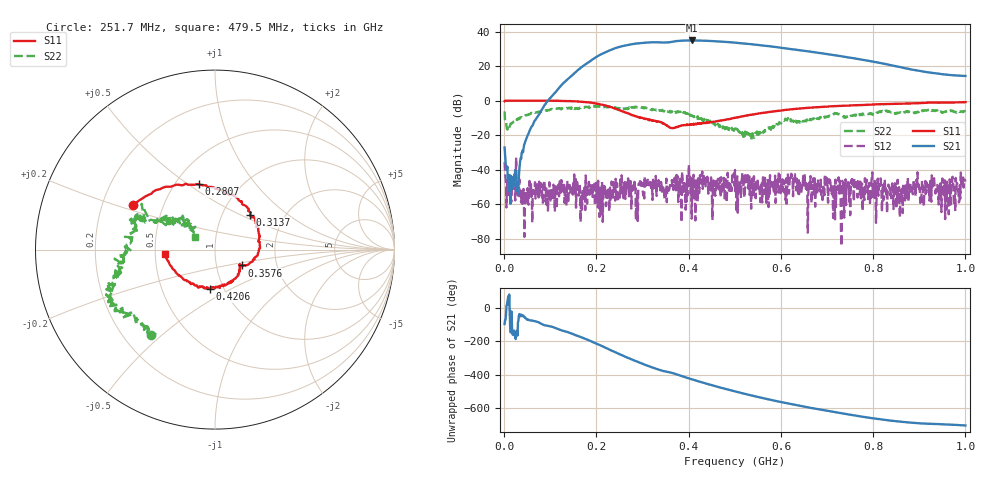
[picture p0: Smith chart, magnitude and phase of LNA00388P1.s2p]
! Created with skrf 1.9.0 (http://scikit-rf.org).
# Hz S RI R 50.0
!freq ReS11 ImS11 ReS21 ImS21 ReS12 ImS12 ReS22 ImS22
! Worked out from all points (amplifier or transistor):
!   1001 points, 1 MHz to 1 GHz, reference 50 ohm
!   highest |S21| = 34.9 dB at 406.6 MHz (marker M1)
!   |S21| within 3 dB of that: 260.7 MHz to 563 MHz (302.3 MHz wide, 73.4 % of centre)
!   unconditionally stable (mu >= 1): 199 MHz to 385.6 MHz; 385.9 MHz to 400.2 MHz; 401 MHz to end of sweep (the widest 3 of 39)
!   at 166.8 MHz: K = 2.74, MAG = 30.0 dB, |S12| = -55.3 dB
!   at 500.5 MHz: K = 1.16, MAG = 34.5 dB, |S12| = -40.2 dB
!   at 1 GHz: K = 2.57, MAG = 23.7 dB, |S12| = -46.8 dB
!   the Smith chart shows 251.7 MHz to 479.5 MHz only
!   S11 on the Smith chart (normalised r, x): 251.7 MHz: 0.33, +0.23; 280.7 MHz: 0.65, +0.55; 313.7 MHz: 1.35, +0.57; 357.6 MHz: 1.33, -0.24; 420.6 MHz: 0.86, -0.40; 479.5 MHz: 0.57, -0.03
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1000000  0.9722 -0.00135  -0.00397 -0.0442  -0.00718 0.0152  0.3649 0.3249
1.09891e8  0.5173 -0.8536  -0.7869 -1.484  2.03e-05 0.000609  0.4405 -0.3739
1.67833e8  -0.2234 -0.9039  -9.408 -0.8097  -0.000578 -0.00148  0.063 -0.6407
2.12788e8  -0.6896 -0.3399  -15.18 17.2  -0.00178 0.00315  -0.2072 -0.653
2.31769e8  -0.6505 -0.017  -8.631 28.52  -0.000858 -0.0016  -0.2767 -0.5848
2.51749e8  -0.4571 0.2494  5.34 36.35  -0.00434 -0.00282  -0.3548 -0.4785
2.8072e8  -0.0898 0.3634  30.12 32.49  -0.00302 0.00194  -0.5483 -0.3283
3.13687e8  0.1964 0.1951  47.86 9.139  -0.00258 -0.00245  -0.5775 -0.1938
3.34666e8  0.2512 0.00852  48.66 -7.841  0.000196 0.00502  -0.5125 -0.0753
3.57643e8  0.149 -0.0881  44.56 -21.01  -0.00219 0.00136  -0.4632 0.0609
3.77623e8  0.1359 -0.112  40.64 -35.68  0.00108 0.000428  -0.4311 0.171
4.06594e8  0.0445 -0.1954  21.29 -51.53  -0.000311 -0.000224  -0.3388 0.1558
4.2058e8  -0.027 -0.2201  9.828 -54.44  -0.00271 0.00588  -0.2354 0.1762
4.46554e8  -0.1624 -0.1703  -9.772 -53.07  0.00351 -0.000759  -0.1808 0.1888
4.79521e8  -0.2773 -0.0261  -29.52 -41.38  0.00192 -0.00596  -0.1116 0.0706
5.005e8  -0.306 0.101  -37.43 -30.45  0.00976 0.00101  -0.1098 0.0685
5.39461e8  -0.2493 0.3112  -41.71 -9.514  0.00352 -0.00184  -0.0921 -0.0292
5.84416e8  -0.0718 0.4849  -35.37 9.723  0.00192 0.00155  -0.1535 -0.0657
6.67333e8  0.3265 0.542  -12.38 22.65  -0.00193 -0.00294  -0.2886 -0.0603
7.51249e8  0.6201 0.3877  3.471 17.27  -0.000601 0.00223  -0.3615 0.0322
8.34166e8  0.7862 0.1607  7.795 7.808  -0.00219 -0.00241  -0.468 0.1027
1e9  0.8284 -0.3698  5.063 1.309  -0.00277 0.00362  -0.2035 0.441
